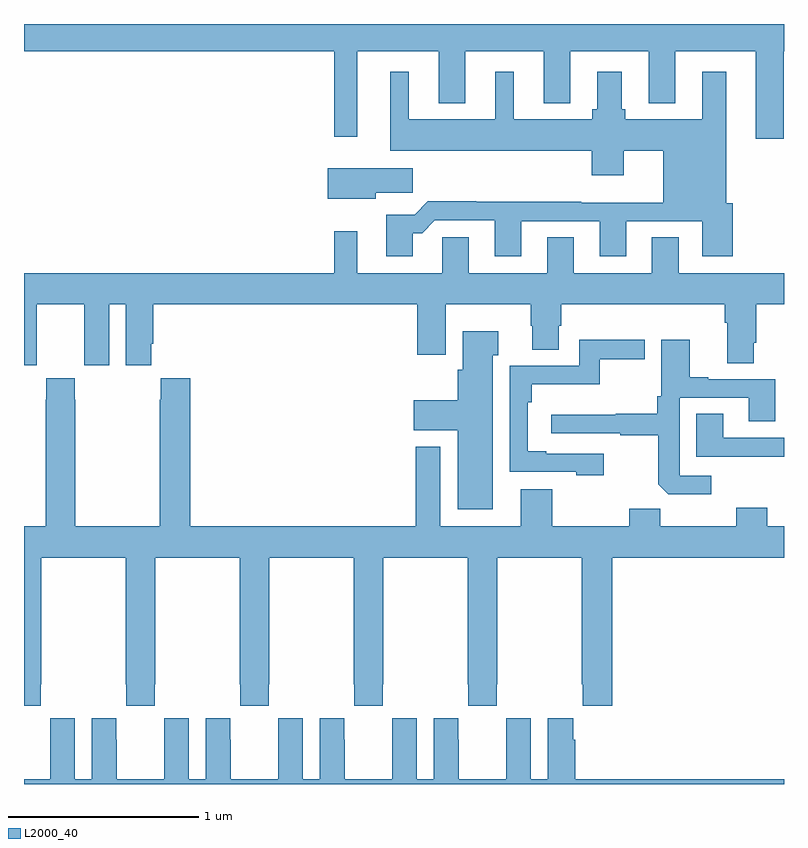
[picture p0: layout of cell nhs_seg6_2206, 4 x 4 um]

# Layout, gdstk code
import gdstk
lib = gdstk.Library(unit=1e-6, precision=1e-09)
def P(c, l, *ps):  # polygons
    for p in ps: c.add(gdstk.Polygon(p, *l))
L2000_40 = (2000, 40)

nhs_seg6_2206 = lib.new_cell('nhs_seg6_2206')
P(nhs_seg6_2206, L2000_40, [(246.999,927.356),(247,927.356),(247,927.5),(243,927.5),(243,927.356),(244.632,927.356),(244.632,926.907),(244.753,926.907),(244.753,927.356),(245.183,927.356),(245.183,927.083),(245.323,927.083),(245.323,927.356),(245.735,927.356),(245.735,927.083),(245.875,927.083),(245.875,927.356),(246.287,927.356),(246.287,927.083),(246.427,927.083),(246.427,927.356),(246.851,927.356),(246.851,926.895),(246.999,926.895)],
  [(245.047,926.399),(245.096,926.399),(245.163,926.466),(245.477,926.466),(245.477,926.277),(245.617,926.277),(245.617,926.463),(246.029,926.463),(246.029,926.277),(246.169,926.277),(246.169,926.463),(246.569,926.463),(246.569,926.277),(246.729,926.277),(246.729,926.556),(246.697,926.556),(246.697,927.25),(246.569,927.25),(246.569,926.998),(246.165,926.998),(246.165,927.051),(246.145,927.051),(246.145,927.25),(246.017,927.25),(246.017,927.051),(245.992,927.051),(245.992,926.998),(245.578,926.998),(245.578,927.25),(245.48,927.25),(245.48,926.998),(245.026,926.998),(245.026,927.25),(244.928,927.25),(244.928,926.834),(245.987,926.834),(245.987,926.703),(246.157,926.703),(246.157,926.834),(246.365,926.834),(246.365,926.56),(245.933,926.56),(245.933,926.564),(245.381,926.564),(245.381,926.567),(245.126,926.567),(245.056,926.497),(244.907,926.497),(244.907,926.277),(245.047,926.277)],
  [(244.852,926.611),(245.047,926.611),(245.047,926.74),(244.598,926.74),(244.598,926.579),(244.852,926.579)],
  [(245.753,926.188),(245.341,926.188),(245.341,926.378),(245.202,926.378),(245.202,926.188),(244.753,926.188),(244.753,926.41),(244.632,926.41),(244.632,926.188),(243,926.188),(243,925.704),(243.066,925.704),(243.066,925.816),(243.067,925.816),(243.067,926.024),(243.317,926.024),(243.317,925.816),(243.318,925.816),(243.318,925.704),(243.448,925.704),(243.448,926.024),(243.536,926.024),(243.536,925.704),(243.67,925.704),(243.67,925.816),(243.68,925.816),(243.68,926.024),(245.069,926.024),(245.069,925.758),(245.221,925.758),(245.221,926.024),(245.668,926.024),(245.668,925.911),(245.675,925.911),(245.675,925.786),(245.815,925.786),(245.815,925.911),(245.828,925.911),(245.828,926.024),(246.689,926.024),(246.689,925.928),(246.701,925.928),(246.701,925.714),(246.841,925.714),(246.841,925.822),(246.854,925.822),(246.854,926.024),(247,926.024),(247,926.188),(246.445,926.188),(246.445,926.378),(246.305,926.378),(246.305,926.188),(245.893,926.188),(245.893,926.378),(245.753,926.378)],
  [(245.467,925.757),(245.497,925.757),(245.497,925.882),(245.309,925.882),(245.309,925.68),(245.282,925.68),(245.282,925.519),(245.052,925.519),(245.052,925.361),(245.282,925.361),(245.282,924.947),(245.467,924.947)],
  [(246.052,925.239),(245.749,925.239),(245.749,925.252),(245.652,925.252),(245.652,925.508),(245.672,925.508),(245.672,925.604),(246.031,925.604),(246.031,925.735),(246.268,925.735),(246.268,925.838),(245.922,925.838),(245.922,925.701),(245.556,925.701),(245.556,925.143),(245.907,925.143),(245.907,925.124),(246.052,925.124)],
  [(246.616,925.122),(246.45,925.122),(246.45,925.533),(246.815,925.533),(246.815,925.408),(246.955,925.408),(246.955,925.629),(246.601,925.629),(246.601,925.642),(246.505,925.642),(246.505,925.837),(246.354,925.837),(246.354,925.54),(246.334,925.54),(246.334,925.448),(246.115,925.448),(246.115,925.444),(245.775,925.444),(245.775,925.347),(246.139,925.347),(246.139,925.335),(246.339,925.335),(246.339,925.077),(246.391,925.026),(246.616,925.026)],
  [(243.087,924.025),(243.09,924.025),(243.09,924.692),(243.535,924.692),(243.535,924.025),(243.537,924.025),(243.537,923.913),(243.687,923.913),(243.687,924.025),(243.69,924.025),(243.69,924.692),(244.135,924.692),(244.135,924.025),(244.137,924.025),(244.137,923.913),(244.287,923.913),(244.287,924.025),(244.29,924.025),(244.29,924.692),(244.735,924.692),(244.735,924.025),(244.737,924.025),(244.737,923.913),(244.887,923.913),(244.887,924.025),(244.89,924.025),(244.89,924.692),(245.335,924.692),(245.335,924.025),(245.337,924.025),(245.337,923.913),(245.487,923.913),(245.487,924.025),(245.49,924.025),(245.49,924.692),(245.935,924.692),(245.935,924.025),(245.941,924.025),(245.941,923.913),(246.095,923.913),(246.095,924.692),(247,924.692),(247,924.856),(246.913,924.856),(246.913,924.955),(246.749,924.955),(246.749,924.856),(246.349,924.856),(246.349,924.949),(246.185,924.949),(246.185,924.856),(245.779,924.856),(245.779,925.051),(245.615,925.051),(245.615,924.856),(245.191,924.856),(245.191,925.276),(245.063,925.276),(245.063,924.856),(243.875,924.856),(243.875,925.636),(243.721,925.636),(243.721,925.523),(243.715,925.523),(243.715,924.856),(243.27,924.856),(243.27,925.523),(243.267,925.523),(243.267,925.636),(243.117,925.636),(243.117,925.523),(243.115,925.523),(243.115,924.856),(243,924.856),(243,923.913),(243.087,923.913)],
  [(247,925.323),(246.679,925.323),(246.679,925.448),(246.539,925.448),(246.539,925.222),(247,925.222)],
  [(247,923.524),(245.9,923.524),(245.9,923.732),(245.89,923.732),(245.89,923.845),(245.756,923.845),(245.756,923.524),(245.668,923.524),(245.668,923.845),(245.538,923.845),(245.538,923.732),(245.537,923.732),(245.537,923.524),(245.287,923.524),(245.287,923.732),(245.286,923.732),(245.286,923.845),(245.156,923.845),(245.156,923.524),(245.068,923.524),(245.068,923.845),(244.938,923.845),(244.938,923.732),(244.937,923.732),(244.937,923.524),(244.687,923.524),(244.687,923.732),(244.686,923.732),(244.686,923.845),(244.556,923.845),(244.556,923.524),(244.468,923.524),(244.468,923.845),(244.338,923.845),(244.338,923.732),(244.337,923.732),(244.337,923.524),(244.087,923.524),(244.087,923.732),(244.086,923.732),(244.086,923.845),(243.956,923.845),(243.956,923.524),(243.868,923.524),(243.868,923.845),(243.738,923.845),(243.738,923.732),(243.737,923.732),(243.737,923.524),(243.487,923.524),(243.487,923.732),(243.486,923.732),(243.486,923.845),(243.356,923.845),(243.356,923.524),(243.268,923.524),(243.268,923.845),(243.138,923.845),(243.138,923.732),(243.137,923.732),(243.137,923.524),(243,923.524),(243,923.5),(247,923.5)])

lib.write_gds('nhs_seg6_2206.gds')
